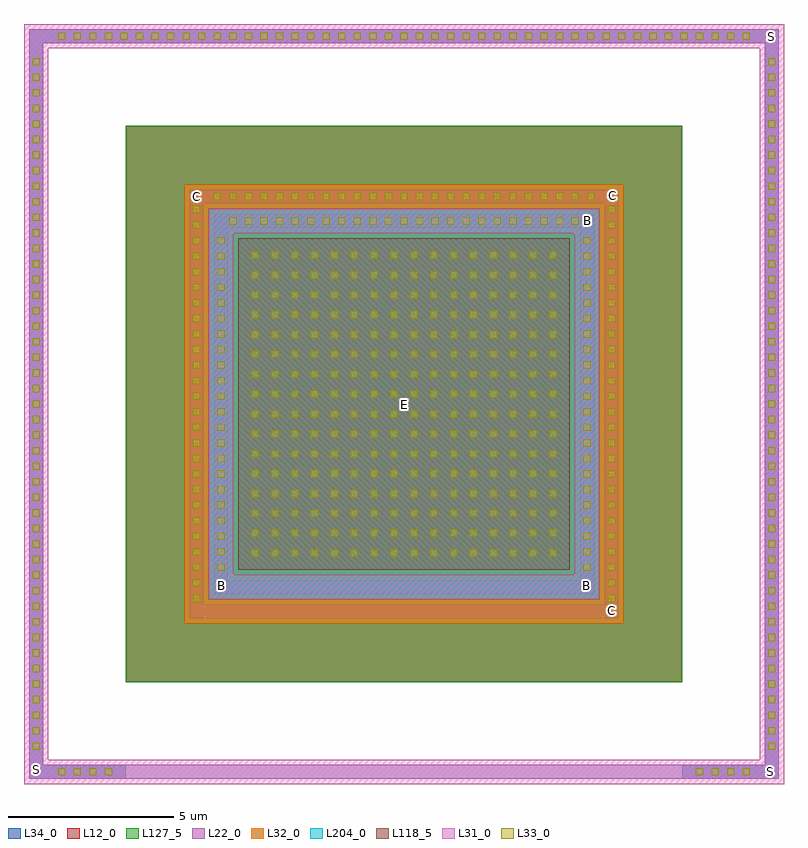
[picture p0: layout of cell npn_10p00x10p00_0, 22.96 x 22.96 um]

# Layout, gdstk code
import gdstk
lib = gdstk.Library(unit=1e-6, precision=1e-09)
def R(c, l, rs):  # rectangles x0, y0, x1, y1
    for r in rs: c.add(gdstk.rectangle(r[:2], r[2:], *l))
def A(c, l, x, y, w, h, nx, ny, dx, dy):  # array of equal rectangles
    R(c, l, [(x+i*dx, y+j*dy, x+i*dx+w, y+j*dy+h) for i in range(nx) for j in range(ny)])
def P(c, l, *ps):  # polygons
    for p in ps: c.add(gdstk.Polygon(p, *l))
L12_0 = (12, 0)
L22_0 = (22, 0)
L31_0 = (31, 0)
L32_0 = (32, 0)
L33_0 = (33, 0)
L34_0 = (34, 0)
L118_5 = (118, 5)
L127_5 = (127, 5)
L204_0 = (204, 0)

npn_10p00x10p00_0 = lib.new_cell('npn_10p00x10p00_0')
R(npn_10p00x10p00_0, L12_0, [(-3.4,-3.4,13.4,13.4)])
R(npn_10p00x10p00_0, L22_0, [(0,0,10,10)])
P(npn_10p00x10p00_0, L22_0, [(-6.32,-6.32),(-6.32,16.32),(15.9,16.32),(15.9,15.9),(-5.9,15.9),(-5.9,-5.9),(15.9,-5.9),(15.9,16.32),(16.32,16.32),(16.32,-6.32)],
  [(-0.74,-0.74),(-0.74,10.74),(10.32,10.74),(10.32,10.32),(-0.32,10.32),(-0.32,-0.32),(10.32,-0.32),(10.32,10.74),(10.74,10.74),(10.74,-0.74)],
  [(-1.48,-1.48),(-1.48,11.48),(11.06,11.48),(11.06,11.06),(-1.06,11.06),(-1.06,-1.06),(11.06,-1.06),(11.06,11.48),(11.48,11.48),(11.48,-1.48)])
P(npn_10p00x10p00_0, L31_0, [(-6.48,-6.48),(-6.48,16.48),(15.74,16.48),(15.74,15.74),(-5.74,15.74),(-5.74,-5.74),(15.74,-5.74),(15.74,16.48),(16.48,16.48),(16.48,-6.48)],
  [(-0.9,-0.9),(-0.9,10.9),(10.16,10.9),(10.16,10.16),(-0.16,10.16),(-0.16,-0.16),(10.16,-0.16),(10.16,10.9),(10.9,10.9),(10.9,-0.9)])
R(npn_10p00x10p00_0, L32_0, [(-0.16,-0.16,10.16,10.16)])
P(npn_10p00x10p00_0, L32_0, [(-1.64,-1.64),(-1.64,11.64),(10.9,11.64),(10.9,10.9),(-0.9,10.9),(-0.9,-0.9),(10.9,-0.9),(10.9,11.64),(11.64,11.64),(11.64,-1.64)])
A(npn_10p00x10p00_0, L33_0, -5.45, -6.22, 0.22, 0.22, 4, 1, 0.47, 0)
A(npn_10p00x10p00_0, L33_0, 13.82, -6.22, 0.22, 0.22, 4, 1, 0.47, 0)
A(npn_10p00x10p00_0, L33_0, -6.22, -5.45, 0.22, 0.22, 1, 45, 0, 0.47)
A(npn_10p00x10p00_0, L33_0, 16, -5.45, 0.22, 0.22, 1, 45, 0, 0.47)
A(npn_10p00x10p00_0, L33_0, -1.38, -0.985, 0.22, 0.22, 1, 26, 0, 0.47)
A(npn_10p00x10p00_0, L33_0, 11.16, -0.985, 0.22, 0.22, 1, 26, 0, 0.47)
A(npn_10p00x10p00_0, L33_0, -0.64, -0.045, 0.22, 0.22, 1, 22, 0, 0.47)
A(npn_10p00x10p00_0, L33_0, 10.42, -0.045, 0.22, 0.22, 1, 22, 0, 0.47)
A(npn_10p00x10p00_0, L33_0, 0.39, 0.39, 0.22, 0.22, 16, 16, 0.6, 0.6)
A(npn_10p00x10p00_0, L33_0, -0.28, 10.42, 0.22, 0.22, 23, 1, 0.47, 0)
A(npn_10p00x10p00_0, L33_0, -0.75, 11.16, 0.22, 0.22, 25, 1, 0.47, 0)
A(npn_10p00x10p00_0, L33_0, -5.45, 16, 0.22, 0.22, 45, 1, 0.47, 0)
R(npn_10p00x10p00_0, L34_0, [(-6.32,-6.32,-5.9,16.32), (-6.32,-6.32,-3.4,-5.9), (13.4,-6.32,16.32,-5.9), (15.9,-6.32,16.32,16.32), (-1.48,-1.48,-1.06,11.48), (11.06,-1.48,11.48,11.48), (-0.74,-0.74,-0.32,10.74), (10.32,-0.74,10.74,10.74), (0,0,10,10), (0,0,10,10), (-0.74,10.32,10.74,10.74), (-1.48,11.06,11.48,11.48), (-6.32,15.9,16.32,16.32)])
P(npn_10p00x10p00_0, L34_0, [(-6.32,-6.32),(-6.32,16.32),(15.9,16.32),(15.9,15.9),(-5.9,15.9),(-5.9,-5.9),(-3.4,-5.9),(-3.4,-6.32)],
  [(13.4,-6.32),(13.4,-5.9),(15.9,-5.9),(15.9,16.32),(16.32,16.32),(16.32,-6.32)],
  [(-0.74,-0.74),(-0.74,10.74),(10.74,10.74),(10.74,-0.74),(10.32,-0.74),(10.32,10.32),(-0.32,10.32),(-0.32,-0.74)],
  [(-1.48,-1.48),(-1.48,11.48),(11.48,11.48),(11.48,-1.48),(11.06,-1.48),(11.06,11.06),(-1.06,11.06),(-1.06,-1.48)])
R(npn_10p00x10p00_0, L118_5, [(0,0,10,10)])
R(npn_10p00x10p00_0, L127_5, [(-3.4,-3.4,13.4,13.4)])
R(npn_10p00x10p00_0, L204_0, [(-0.9,-0.9,10.9,10.9)])
npn_10p00x10p00_0.add(gdstk.Label('E', (5.005,4.995), layer=34, texttype=0))
npn_10p00x10p00_0.add(gdstk.Label('B', (-0.515,-0.485), layer=34, texttype=0))
npn_10p00x10p00_0.add(gdstk.Label('B', (10.525,-0.495), layer=34, texttype=0))
npn_10p00x10p00_0.add(gdstk.Label('B', (10.55,10.54), layer=34, texttype=0))
npn_10p00x10p00_0.add(gdstk.Label('C', (-1.255,11.26), layer=34, texttype=0))
npn_10p00x10p00_0.add(gdstk.Label('C', (11.27,-1.235), layer=34, texttype=0))
npn_10p00x10p00_0.add(gdstk.Label('C', (11.285,11.285), layer=34, texttype=0))
npn_10p00x10p00_0.add(gdstk.Label('S', (16.105,16.105), layer=34, texttype=0))
npn_10p00x10p00_0.add(gdstk.Label('S', (16.07,-6.095), layer=34, texttype=0))
npn_10p00x10p00_0.add(gdstk.Label('S', (16.07,-6.095), layer=34, texttype=0))
npn_10p00x10p00_0.add(gdstk.Label('S', (-6.095,-6.055), layer=34, texttype=0))
npn_10p00x10p00_0.add(gdstk.Label('S', (-6.095,-6.055), layer=34, texttype=0))

lib.write_gds('npn_10p00x10p00_0.gds')
